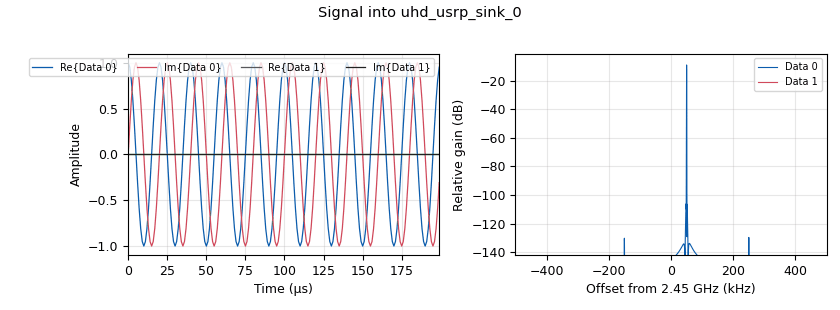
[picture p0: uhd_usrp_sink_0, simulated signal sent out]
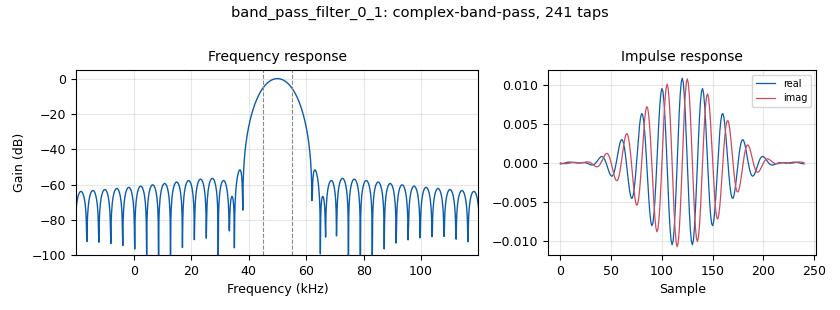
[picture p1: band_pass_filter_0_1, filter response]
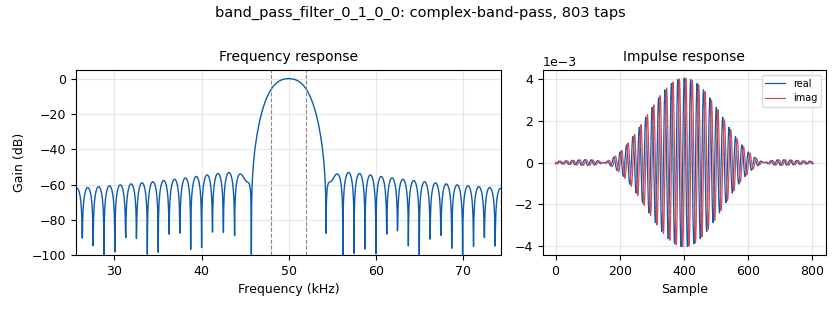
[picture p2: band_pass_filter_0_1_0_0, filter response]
options:
  parameters:
    generate_options: qt_gui
    id: run_save_phase_mag_corr_coeff_vals_2_45GHz_MAV_and_filter_eval
    output_language: python
    title: Save phase and magnitude correcting coefficents 2.45GHz MAV and filter eval
  states: {}

blocks:
- name: center_frequency
  id: variable
  parameters:
    value: '2.45e+9'
  states: {}
- name: chan_bandwidth
  id: variable
  parameters:
    value: '500000'
  states: {}
- name: rx_gain
  id: variable
  parameters:
    value: '60'
  states: {}
- name: samp_rate
  id: variable
  parameters:
    value: '1000000'
  states: {}
- name: tx_gain
  id: variable
  parameters:
    value: '30'
  states: {}
- name: analog_sig_source_x_0
  id: analog_sig_source_x
  parameters:
    amp: '1'
    freq: 50e3
    offset: '0'
    phase: '0'
    samp_rate: samp_rate
    type: complex
    waveform: analog.GR_COS_WAVE
  states: {}
- name: aoa_calc_phase_diff_0
  id: aoa_calc_phase_diff
  parameters:
    node_idx: '1'
    norm_spacing: '0.5'
  states: {}
- name: aoa_calc_phase_diff_0_0
  id: aoa_calc_phase_diff
  parameters:
    node_idx: '1'
    norm_spacing: '0.5'
  states: {}
- name: aoa_calc_phase_diff_0_0_0
  id: aoa_calc_phase_diff
  parameters:
    node_idx: '1'
    norm_spacing: '0.5'
  states: {}
- name: aoa_precise_moving_average_0
  id: aoa_precise_moving_average
  parameters:
    length: int(1e3)
    max_iter: int(1e3)
  states: {}
- name: aoa_precise_moving_average_0_0
  id: aoa_precise_moving_average
  parameters:
    length: int(1e7)
    max_iter: int(1e7)
  states: {}
- name: aoa_precise_moving_average_0_0_0
  id: aoa_precise_moving_average
  parameters:
    length: int(1e6)
    max_iter: int(1e6)
  states: {}
- name: aoa_precise_moving_average_0_0_0_0
  id: aoa_precise_moving_average
  parameters:
    length: int(1e4)
    max_iter: int(1e4)
  states: {}
- name: aoa_precise_moving_average_0_0_0_0_0
  id: aoa_precise_moving_average
  parameters:
    length: int(1e5)
    max_iter: int(1e5)
  states: {}
- name: aoa_precise_moving_average_0_0_0_0_0_0
  id: aoa_precise_moving_average
  parameters:
    length: int(1e5)
    max_iter: int(1e5)
  states: {}
- name: aoa_precise_moving_average_0_0_0_0_0_0_0
  id: aoa_precise_moving_average
  parameters:
    length: int(1e5)
    max_iter: int(1e5)
  states: {}
- name: aoa_precise_moving_average_0_0_0_0_0_0_0_0
  id: aoa_precise_moving_average
  parameters:
    length: int(1e5)
    max_iter: int(1e5)
  states: {}
- name: aoa_precise_moving_average_0_0_0_0_0_0_0_0_0
  id: aoa_precise_moving_average
  parameters:
    length: int(1e5)
    max_iter: int(1e5)
  states: {}
- name: aoa_precise_moving_average_0_0_0_0_0_0_0_1
  id: aoa_precise_moving_average
  parameters:
    length: int(1e5)
    max_iter: int(1e5)
  states: {}
- name: aoa_precise_moving_average_0_0_0_0_1
  id: aoa_precise_moving_average
  parameters:
    length: int(1e4)
    max_iter: int(1e4)
  states: {}
- name: aoa_precise_moving_average_0_0_0_0_1_0
  id: aoa_precise_moving_average
  parameters:
    length: int(1e4)
    max_iter: int(1e4)
  states: {}
- name: aoa_precise_moving_average_0_0_0_0_1_0_0
  id: aoa_precise_moving_average
  parameters:
    length: int(1e4)
    max_iter: int(1e4)
  states: {}
- name: aoa_precise_moving_average_0_0_0_0_1_0_0_0
  id: aoa_precise_moving_average
  parameters:
    length: int(1e4)
    max_iter: int(1e4)
  states: {}
- name: aoa_precise_moving_average_0_0_0_0_1_0_1
  id: aoa_precise_moving_average
  parameters:
    length: int(1e4)
    max_iter: int(1e4)
  states: {}
- name: aoa_precise_moving_average_0_0_0_1
  id: aoa_precise_moving_average
  parameters:
    length: int(1e6)
    max_iter: int(1e6)
  states: {}
- name: aoa_precise_moving_average_0_0_0_1_0
  id: aoa_precise_moving_average
  parameters:
    length: int(1e6)
    max_iter: int(1e6)
  states: {}
- name: aoa_precise_moving_average_0_0_0_1_0_0
  id: aoa_precise_moving_average
  parameters:
    length: int(1e6)
    max_iter: int(1e6)
  states: {}
- name: aoa_precise_moving_average_0_0_0_1_0_0_0
  id: aoa_precise_moving_average
  parameters:
    length: int(1e6)
    max_iter: int(1e6)
  states: {}
- name: aoa_precise_moving_average_0_0_0_1_0_1
  id: aoa_precise_moving_average
  parameters:
    length: int(1e6)
    max_iter: int(1e6)
  states: {}
- name: aoa_precise_moving_average_0_0_1
  id: aoa_precise_moving_average
  parameters:
    length: int(1e7)
    max_iter: int(1e7)
  states: {}
- name: aoa_precise_moving_average_0_0_1_0
  id: aoa_precise_moving_average
  parameters:
    length: int(1e7)
    max_iter: int(1e7)
  states: {}
- name: aoa_precise_moving_average_0_0_1_0_0
  id: aoa_precise_moving_average
  parameters:
    length: int(1e7)
    max_iter: int(1e7)
  states: {}
- name: aoa_precise_moving_average_0_0_1_0_0_0
  id: aoa_precise_moving_average
  parameters:
    length: int(1e7)
    max_iter: int(1e7)
  states: {}
- name: aoa_precise_moving_average_0_0_1_0_1
  id: aoa_precise_moving_average
  parameters:
    length: int(1e7)
    max_iter: int(1e7)
  states: {}
- name: aoa_precise_moving_average_0_1
  id: aoa_precise_moving_average
  parameters:
    length: int(1e3)
    max_iter: int(1e3)
  states: {}
- name: aoa_precise_moving_average_0_1_0
  id: aoa_precise_moving_average
  parameters:
    length: int(1e3)
    max_iter: int(1e3)
  states: {}
- name: aoa_precise_moving_average_0_1_0_0
  id: aoa_precise_moving_average
  parameters:
    length: int(1e3)
    max_iter: int(1e3)
  states: {}
- name: aoa_precise_moving_average_0_1_0_0_0
  id: aoa_precise_moving_average
  parameters:
    length: int(1e3)
    max_iter: int(1e3)
  states: {}
- name: aoa_precise_moving_average_0_1_0_1
  id: aoa_precise_moving_average
  parameters:
    length: int(1e3)
    max_iter: int(1e3)
  states: {}
- name: band_pass_filter_0_1
  id: band_pass_filter
  parameters:
    decim: '1'
    gain: '1'
    high_cutoff_freq: 55e3
    low_cutoff_freq: 45e3
    samp_rate: samp_rate
    type: fir_filter_ccc
    width: 10e3
    win: firdes.WIN_HAMMING
  states: {}
- name: band_pass_filter_0_1_0
  id: band_pass_filter
  parameters:
    decim: '1'
    gain: '1'
    high_cutoff_freq: 55e3
    low_cutoff_freq: 45e3
    samp_rate: samp_rate
    type: fir_filter_ccc
    width: 10e3
    win: firdes.WIN_HAMMING
  states: {}
- name: band_pass_filter_0_1_0_0
  id: band_pass_filter
  parameters:
    decim: '1'
    gain: '1'
    high_cutoff_freq: 52e3
    low_cutoff_freq: 48e3
    samp_rate: samp_rate
    type: fir_filter_ccc
    width: 3e3
    win: firdes.WIN_HAMMING
  states: {}
- name: band_pass_filter_0_1_1
  id: band_pass_filter
  parameters:
    decim: '1'
    gain: '1'
    high_cutoff_freq: 52e3
    low_cutoff_freq: 48e3
    samp_rate: samp_rate
    type: fir_filter_ccc
    width: 3e3
    win: firdes.WIN_HAMMING
  states: {}
- name: blocks_complex_to_mag_0
  id: blocks_complex_to_mag
  parameters: {}
  states: {}
- name: blocks_complex_to_mag_0_0
  id: blocks_complex_to_mag
  parameters: {}
  states: {}
- name: blocks_complex_to_mag_0_0_0
  id: blocks_complex_to_mag
  parameters: {}
  states: {}
- name: blocks_complex_to_mag_0_0_0_0
  id: blocks_complex_to_mag
  parameters: {}
  states: {}
- name: blocks_complex_to_mag_0_1
  id: blocks_complex_to_mag
  parameters: {}
  states: {}
- name: blocks_complex_to_mag_0_1_0
  id: blocks_complex_to_mag
  parameters: {}
  states: {}
- name: blocks_divide_xx_0
  id: blocks_divide_xx
  parameters:
    type: float
  states: {}
- name: blocks_divide_xx_0_0
  id: blocks_divide_xx
  parameters:
    type: float
  states: {}
- name: blocks_divide_xx_0_0_0
  id: blocks_divide_xx
  parameters:
    type: float
  states: {}
- name: blocks_file_sink_0
  id: blocks_file_sink
  parameters:
    file: /home/marcin/Desktop/phase_shift_coeff_mav_100k_nofilter_log.bin
    type: float
  states: {}
- name: blocks_file_sink_0_2
  id: blocks_file_sink
  parameters:
    file: /home/marcin/Desktop/phase_shift_coeff_mav_1M_nofilter_log.bin
    type: float
  states: {}
- name: blocks_file_sink_0_2_0
  id: blocks_file_sink
  parameters:
    file: /home/marcin/Desktop/mag_corr_coeff_mav_1M_nofilter_log.bin
    type: float
  states: {}
- name: blocks_file_sink_0_2_0_0
  id: blocks_file_sink
  parameters:
    file: /home/marcin/Desktop/phase_shift_coeff_mav_1M_filter_log.bin
    type: float
  states: {}
- name: blocks_file_sink_0_2_0_0_0
  id: blocks_file_sink
  parameters:
    file: /home/marcin/Desktop/mag_corr_coeff_mav_1M_filter_log.bin
    type: float
  states: {}
- name: blocks_file_sink_0_2_0_0_0_0
  id: blocks_file_sink
  parameters:
    file: /home/marcin/Desktop/mag_corr_coeff_mav_10M_filter_log.bin
    type: float
  states: {}
- name: blocks_file_sink_0_2_0_0_0_0_0
  id: blocks_file_sink
  parameters:
    file: /home/marcin/Desktop/mag_corr_coeff_mav_10M_sel_filter_log.bin
    type: float
  states: {}
- name: blocks_file_sink_0_2_0_0_0_1
  id: blocks_file_sink
  parameters:
    file: /home/marcin/Desktop/mag_corr_coeff_mav_1M_sel_filter_log.bin
    type: float
  states: {}
- name: blocks_file_sink_0_2_0_0_1
  id: blocks_file_sink
  parameters:
    file: /home/marcin/Desktop/phase_shift_coeff_mav_10M_filter_log.bin
    type: float
  states: {}
- name: blocks_file_sink_0_2_0_0_1_0
  id: blocks_file_sink
  parameters:
    file: /home/marcin/Desktop/phase_shift_coeff_mav_10M_sel_filter_log.bin
    type: float
  states: {}
- name: blocks_file_sink_0_2_0_0_2
  id: blocks_file_sink
  parameters:
    file: /home/marcin/Desktop/phase_shift_coeff_mav_1M_sel_filter_log.bin
    type: float
  states: {}
- name: blocks_file_sink_0_2_0_1
  id: blocks_file_sink
  parameters:
    file: /home/marcin/Desktop/mag_corr_coeff_mav_10M_nofilter_log.bin
    type: float
  states: {}
- name: blocks_file_sink_0_2_1
  id: blocks_file_sink
  parameters:
    file: /home/marcin/Desktop/phase_shift_coeff_mav_10M_nofilter_log.bin
    type: float
  states: {}
- name: blocks_file_sink_0_3
  id: blocks_file_sink
  parameters:
    file: /home/marcin/Desktop/phase_shift_coeff_mav_10k_nofilter_log.bin
    type: float
  states: {}
- name: blocks_file_sink_0_3_0
  id: blocks_file_sink
  parameters:
    file: /home/marcin/Desktop/phase_shift_coeff_mav_1k_nofilter_log.bin
    type: float
  states: {}
- name: blocks_file_sink_0_3_0_0
  id: blocks_file_sink
  parameters:
    file: /home/marcin/Desktop/mag_corr_coeff_mav_1k_nofilter_log.bin
    type: float
  states: {}
- name: blocks_file_sink_0_3_0_0_0
  id: blocks_file_sink
  parameters:
    file: /home/marcin/Desktop/phase_shift_coeff_mav_1k_filter_log.bin
    type: float
  states: {}
- name: blocks_file_sink_0_3_0_0_0_0
  id: blocks_file_sink
  parameters:
    file: /home/marcin/Desktop/mag_corr_coeff_mav_1k_filter_log.bin
    type: float
  states: {}
- name: blocks_file_sink_0_3_0_0_0_0_0
  id: blocks_file_sink
  parameters:
    file: /home/marcin/Desktop/mag_corr_coeff_mav_1k_sel_filter_log.bin
    type: float
  states: {}
- name: blocks_file_sink_0_3_0_0_0_1
  id: blocks_file_sink
  parameters:
    file: /home/marcin/Desktop/phase_shift_coeff_mav_1k_sel_filter_log.bin
    type: float
  states: {}
- name: blocks_file_sink_0_3_1
  id: blocks_file_sink
  parameters:
    file: /home/marcin/Desktop/mag_corr_coeff_mav_10k_nofilter_log.bin
    type: float
  states: {}
- name: blocks_file_sink_0_3_1_0
  id: blocks_file_sink
  parameters:
    file: /home/marcin/Desktop/phase_shift_coeff_mav_10k_filter_log.bin
    type: float
  states: {}
- name: blocks_file_sink_0_3_1_0_0
  id: blocks_file_sink
  parameters:
    file: /home/marcin/Desktop/mag_corr_coeff_mav_10k_filter_log.bin
    type: float
  states: {}
- name: blocks_file_sink_0_3_1_0_0_0
  id: blocks_file_sink
  parameters:
    file: /home/marcin/Desktop/mag_corr_coeff_mav_10k_sel_filter_log.bin
    type: float
  states: {}
- name: blocks_file_sink_0_3_1_0_1
  id: blocks_file_sink
  parameters:
    file: /home/marcin/Desktop/phase_shift_coeff_mav_10k_sel_filter_log.bin
    type: float
  states: {}
- name: blocks_file_sink_0_4
  id: blocks_file_sink
  parameters:
    file: /home/marcin/Desktop/mag_corr_coeff_mav_100k_nofilter_log.bin
    type: float
  states: {}
- name: blocks_file_sink_0_4_0
  id: blocks_file_sink
  parameters:
    file: /home/marcin/Desktop/phase_shift_coeff_mav_100k_filter_log.bin
    type: float
  states: {}
- name: blocks_file_sink_0_4_0_0
  id: blocks_file_sink
  parameters:
    file: /home/marcin/Desktop/mag_corr_coeff_mav_100k_filter_log.bin
    type: float
  states: {}
- name: blocks_file_sink_0_4_0_0_0
  id: blocks_file_sink
  parameters:
    file: /home/marcin/Desktop/mag_corr_coeff_mav_100k_sel_filter_log.bin
    type: float
  states: {}
- name: blocks_file_sink_0_4_0_1
  id: blocks_file_sink
  parameters:
    file: /home/marcin/Desktop/phase_shift_coeff_mav_100k_sel_filter_log.bin
    type: float
  states: {}
- name: blocks_null_source_1
  id: blocks_null_source
  parameters:
    type: complex
  states: {}
- name: blocks_skiphead_0_0_0
  id: blocks_skiphead
  parameters:
    num_items: '1000000'
    type: complex
  states: {}
- name: blocks_skiphead_0_0_0_0
  id: blocks_skiphead
  parameters:
    num_items: '1000000'
    type: complex
  states: {}
- name: fir_filter_xxx_0
  id: fir_filter_xxx
  parameters:
    decim: '10000'
    taps: '1'
    type: fff
  states: {}
- name: fir_filter_xxx_0_2
  id: fir_filter_xxx
  parameters:
    decim: '10000'
    taps: '1'
    type: fff
  states: {}
- name: fir_filter_xxx_0_2_0
  id: fir_filter_xxx
  parameters:
    decim: '10000'
    taps: '1'
    type: fff
  states: {}
- name: fir_filter_xxx_0_2_0_0
  id: fir_filter_xxx
  parameters:
    decim: '10000'
    taps: '1'
    type: fff
  states: {}
- name: fir_filter_xxx_0_2_0_0_0
  id: fir_filter_xxx
  parameters:
    decim: '10000'
    taps: '1'
    type: fff
  states: {}
- name: fir_filter_xxx_0_2_0_0_0_0
  id: fir_filter_xxx
  parameters:
    decim: '10000'
    taps: '1'
    type: fff
  states: {}
- name: fir_filter_xxx_0_2_0_0_0_0_0
  id: fir_filter_xxx
  parameters:
    decim: '10000'
    taps: '1'
    type: fff
  states: {}
- name: fir_filter_xxx_0_2_0_0_0_1
  id: fir_filter_xxx
  parameters:
    decim: '10000'
    taps: '1'
    type: fff
  states: {}
- name: fir_filter_xxx_0_2_0_0_1
  id: fir_filter_xxx
  parameters:
    decim: '10000'
    taps: '1'
    type: fff
  states: {}
- name: fir_filter_xxx_0_2_0_0_1_0
  id: fir_filter_xxx
  parameters:
    decim: '10000'
    taps: '1'
    type: fff
  states: {}
- name: fir_filter_xxx_0_2_0_0_2
  id: fir_filter_xxx
  parameters:
    decim: '10000'
    taps: '1'
    type: fff
  states: {}
- name: fir_filter_xxx_0_2_0_1
  id: fir_filter_xxx
  parameters:
    decim: '10000'
    taps: '1'
    type: fff
  states: {}
- name: fir_filter_xxx_0_2_1
  id: fir_filter_xxx
  parameters:
    decim: '10000'
    taps: '1'
    type: fff
  states: {}
- name: fir_filter_xxx_0_3
  id: fir_filter_xxx
  parameters:
    decim: '10000'
    taps: '1'
    type: fff
  states: {}
- name: fir_filter_xxx_0_3_0
  id: fir_filter_xxx
  parameters:
    decim: '10000'
    taps: '1'
    type: fff
  states: {}
- name: fir_filter_xxx_0_3_0_0
  id: fir_filter_xxx
  parameters:
    decim: '10000'
    taps: '1'
    type: fff
  states: {}
- name: fir_filter_xxx_0_3_0_0_0
  id: fir_filter_xxx
  parameters:
    decim: '10000'
    taps: '1'
    type: fff
  states: {}
- name: fir_filter_xxx_0_3_0_0_0_0
  id: fir_filter_xxx
  parameters:
    decim: '10000'
    taps: '1'
    type: fff
  states: {}
- name: fir_filter_xxx_0_3_0_0_0_0_0
  id: fir_filter_xxx
  parameters:
    decim: '10000'
    taps: '1'
    type: fff
  states: {}
- name: fir_filter_xxx_0_3_0_0_0_1
  id: fir_filter_xxx
  parameters:
    decim: '10000'
    taps: '1'
    type: fff
  states: {}
- name: fir_filter_xxx_0_3_1
  id: fir_filter_xxx
  parameters:
    decim: '10000'
    taps: '1'
    type: fff
  states: {}
- name: fir_filter_xxx_0_3_1_0
  id: fir_filter_xxx
  parameters:
    decim: '10000'
    taps: '1'
    type: fff
  states: {}
- name: fir_filter_xxx_0_3_1_0_0
  id: fir_filter_xxx
  parameters:
    decim: '10000'
    taps: '1'
    type: fff
  states: {}
- name: fir_filter_xxx_0_3_1_0_0_0
  id: fir_filter_xxx
  parameters:
    decim: '10000'
    taps: '1'
    type: fff
  states: {}
- name: fir_filter_xxx_0_3_1_0_1
  id: fir_filter_xxx
  parameters:
    decim: '10000'
    taps: '1'
    type: fff
  states: {}
- name: fir_filter_xxx_0_4
  id: fir_filter_xxx
  parameters:
    decim: '10000'
    taps: '1'
    type: fff
  states: {}
- name: fir_filter_xxx_0_4_0
  id: fir_filter_xxx
  parameters:
    decim: '10000'
    taps: '1'
    type: fff
  states: {}
- name: fir_filter_xxx_0_4_0_0
  id: fir_filter_xxx
  parameters:
    decim: '10000'
    taps: '1'
    type: fff
  states: {}
- name: fir_filter_xxx_0_4_0_0_0
  id: fir_filter_xxx
  parameters:
    decim: '10000'
    taps: '1'
    type: fff
  states: {}
- name: fir_filter_xxx_0_4_0_1
  id: fir_filter_xxx
  parameters:
    decim: '10000'
    taps: '1'
    type: fff
  states: {}
- name: uhd_usrp_sink_0
  id: uhd_usrp_sink
  parameters:
    ant0: TX/RX
    ant1: TX/RX
    bw0: chan_bandwidth
    bw1: chan_bandwidth
    center_freq0: center_frequency
    center_freq1: center_frequency
    dev_args: '""'
    gain0: tx_gain
    gain1: tx_gain
    len_tag_name: ''
    nchan: '2'
    norm_gain0: 'False'
    norm_gain1: 'False'
    samp_rate: samp_rate
    sync: sync
    type: fc32
  states: {}
- name: uhd_usrp_source_0_0
  id: uhd_usrp_source
  parameters:
    ant0: RX2
    ant1: RX2
    bw0: samp_rate
    bw1: samp_rate
    center_freq0: center_frequency
    center_freq1: center_frequency
    clock_source0: internal
    dc_offs_enb0: 'True'
    dc_offs_enb1: 'True'
    dev_args: '""'
    gain0: rx_gain
    gain1: rx_gain
    iq_imbal_enb0: 'True'
    iq_imbal_enb1: 'True'
    nchan: '2'
    norm_gain0: 'False'
    norm_gain1: 'False'
    samp_rate: samp_rate
    sync: pc_clock
    type: fc32
  states: {}

connections:
- [analog_sig_source_x_0, '0', uhd_usrp_sink_0, '0']
- [aoa_calc_phase_diff_0, '0', aoa_precise_moving_average_0, '0']
- [aoa_calc_phase_diff_0, '0', aoa_precise_moving_average_0_0, '0']
- [aoa_calc_phase_diff_0, '0', aoa_precise_moving_average_0_0_0, '0']
- [aoa_calc_phase_diff_0, '0', aoa_precise_moving_average_0_0_0_0, '0']
- [aoa_calc_phase_diff_0, '0', aoa_precise_moving_average_0_0_0_0_0, '0']
- [aoa_calc_phase_diff_0_0, '0', aoa_precise_moving_average_0_0_0_0_0_0_0, '0']
- [aoa_calc_phase_diff_0_0, '0', aoa_precise_moving_average_0_0_0_0_1_0, '0']
- [aoa_calc_phase_diff_0_0, '0', aoa_precise_moving_average_0_0_0_1_0, '0']
- [aoa_calc_phase_diff_0_0, '0', aoa_precise_moving_average_0_0_1_0, '0']
- [aoa_calc_phase_diff_0_0, '0', aoa_precise_moving_average_0_1_0, '0']
- [aoa_calc_phase_diff_0_0_0, '0', aoa_precise_moving_average_0_0_0_0_0_0_0_1, '0']
- [aoa_calc_phase_diff_0_0_0, '0', aoa_precise_moving_average_0_0_0_0_1_0_1, '0']
- [aoa_calc_phase_diff_0_0_0, '0', aoa_precise_moving_average_0_0_0_1_0_1, '0']
- [aoa_calc_phase_diff_0_0_0, '0', aoa_precise_moving_average_0_0_1_0_1, '0']
- [aoa_calc_phase_diff_0_0_0, '0', aoa_precise_moving_average_0_1_0_1, '0']
- [aoa_precise_moving_average_0, '0', fir_filter_xxx_0_3_0, '0']
- [aoa_precise_moving_average_0_0, '0', fir_filter_xxx_0_2_1, '0']
- [aoa_precise_moving_average_0_0_0, '0', fir_filter_xxx_0_2, '0']
- [aoa_precise_moving_average_0_0_0_0, '0', fir_filter_xxx_0_3, '0']
- [aoa_precise_moving_average_0_0_0_0_0, '0', fir_filter_xxx_0, '0']
- [aoa_precise_moving_average_0_0_0_0_0_0, '0', fir_filter_xxx_0_4, '0']
- [aoa_precise_moving_average_0_0_0_0_0_0_0, '0', fir_filter_xxx_0_4_0, '0']
- [aoa_precise_moving_average_0_0_0_0_0_0_0_0, '0', fir_filter_xxx_0_4_0_0, '0']
- [aoa_precise_moving_average_0_0_0_0_0_0_0_0_0, '0', fir_filter_xxx_0_4_0_0_0, '0']
- [aoa_precise_moving_average_0_0_0_0_0_0_0_1, '0', fir_filter_xxx_0_4_0_1, '0']
- [aoa_precise_moving_average_0_0_0_0_1, '0', fir_filter_xxx_0_3_1, '0']
- [aoa_precise_moving_average_0_0_0_0_1_0, '0', fir_filter_xxx_0_3_1_0, '0']
- [aoa_precise_moving_average_0_0_0_0_1_0_0, '0', fir_filter_xxx_0_3_1_0_0, '0']
- [aoa_precise_moving_average_0_0_0_0_1_0_0_0, '0', fir_filter_xxx_0_3_1_0_0_0, '0']
- [aoa_precise_moving_average_0_0_0_0_1_0_1, '0', fir_filter_xxx_0_3_1_0_1, '0']
- [aoa_precise_moving_average_0_0_0_1, '0', fir_filter_xxx_0_2_0, '0']
- [aoa_precise_moving_average_0_0_0_1_0, '0', fir_filter_xxx_0_2_0_0, '0']
- [aoa_precise_moving_average_0_0_0_1_0_0, '0', fir_filter_xxx_0_2_0_0_0, '0']
- [aoa_precise_moving_average_0_0_0_1_0_0_0, '0', fir_filter_xxx_0_2_0_0_0_1, '0']
- [aoa_precise_moving_average_0_0_0_1_0_1, '0', fir_filter_xxx_0_2_0_0_2, '0']
- [aoa_precise_moving_average_0_0_1, '0', fir_filter_xxx_0_2_0_1, '0']
- [aoa_precise_moving_average_0_0_1_0, '0', fir_filter_xxx_0_2_0_0_1, '0']
- [aoa_precise_moving_average_0_0_1_0_0, '0', fir_filter_xxx_0_2_0_0_0_0, '0']
- [aoa_precise_moving_average_0_0_1_0_0_0, '0', fir_filter_xxx_0_2_0_0_0_0_0, '0']
- [aoa_precise_moving_average_0_0_1_0_1, '0', fir_filter_xxx_0_2_0_0_1_0, '0']
- [aoa_precise_moving_average_0_1, '0', fir_filter_xxx_0_3_0_0, '0']
- [aoa_precise_moving_average_0_1_0, '0', fir_filter_xxx_0_3_0_0_0, '0']
- [aoa_precise_moving_average_0_1_0_0, '0', fir_filter_xxx_0_3_0_0_0_0, '0']
- [aoa_precise_moving_average_0_1_0_0_0, '0', fir_filter_xxx_0_3_0_0_0_0_0, '0']
- [aoa_precise_moving_average_0_1_0_1, '0', fir_filter_xxx_0_3_0_0_0_1, '0']
- [band_pass_filter_0_1, '0', aoa_calc_phase_diff_0_0, '0']
- [band_pass_filter_0_1, '0', blocks_complex_to_mag_0_1, '0']
- [band_pass_filter_0_1_0, '0', aoa_calc_phase_diff_0_0, '1']
- [band_pass_filter_0_1_0, '0', blocks_complex_to_mag_0_0_0, '0']
- [band_pass_filter_0_1_0_0, '0', aoa_calc_phase_diff_0_0_0, '1']
- [band_pass_filter_0_1_0_0, '0', blocks_complex_to_mag_0_0_0_0, '0']
- [band_pass_filter_0_1_1, '0', aoa_calc_phase_diff_0_0_0, '0']
- [band_pass_filter_0_1_1, '0', blocks_complex_to_mag_0_1_0, '0']
- [blocks_complex_to_mag_0, '0', blocks_divide_xx_0, '0']
- [blocks_complex_to_mag_0_0, '0', blocks_divide_xx_0, '1']
- [blocks_complex_to_mag_0_0_0, '0', blocks_divide_xx_0_0, '1']
- [blocks_complex_to_mag_0_0_0_0, '0', blocks_divide_xx_0_0_0, '1']
- [blocks_complex_to_mag_0_1, '0', blocks_divide_xx_0_0, '0']
- [blocks_complex_to_mag_0_1_0, '0', blocks_divide_xx_0_0_0, '0']
- [blocks_divide_xx_0, '0', aoa_precise_moving_average_0_0_0_0_0_0, '0']
- [blocks_divide_xx_0, '0', aoa_precise_moving_average_0_0_0_0_1, '0']
- [blocks_divide_xx_0, '0', aoa_precise_moving_average_0_0_0_1, '0']
- [blocks_divide_xx_0, '0', aoa_precise_moving_average_0_0_1, '0']
- [blocks_divide_xx_0, '0', aoa_precise_moving_average_0_1, '0']
- [blocks_divide_xx_0_0, '0', aoa_precise_moving_average_0_0_0_0_0_0_0_0, '0']
- [blocks_divide_xx_0_0, '0', aoa_precise_moving_average_0_0_0_0_1_0_0, '0']
- [blocks_divide_xx_0_0, '0', aoa_precise_moving_average_0_0_0_1_0_0, '0']
- [blocks_divide_xx_0_0, '0', aoa_precise_moving_average_0_0_1_0_0, '0']
- [blocks_divide_xx_0_0, '0', aoa_precise_moving_average_0_1_0_0, '0']
- [blocks_divide_xx_0_0_0, '0', aoa_precise_moving_average_0_0_0_0_0_0_0_0_0, '0']
- [blocks_divide_xx_0_0_0, '0', aoa_precise_moving_average_0_0_0_0_1_0_0_0, '0']
- [blocks_divide_xx_0_0_0, '0', aoa_precise_moving_average_0_0_0_1_0_0_0, '0']
- [blocks_divide_xx_0_0_0, '0', aoa_precise_moving_average_0_0_1_0_0_0, '0']
- [blocks_divide_xx_0_0_0, '0', aoa_precise_moving_average_0_1_0_0_0, '0']
- [blocks_null_source_1, '0', uhd_usrp_sink_0, '1']
- [blocks_skiphead_0_0_0, '0', aoa_calc_phase_diff_0, '0']
- [blocks_skiphead_0_0_0, '0', band_pass_filter_0_1, '0']
- [blocks_skiphead_0_0_0, '0', band_pass_filter_0_1_1, '0']
- [blocks_skiphead_0_0_0, '0', blocks_complex_to_mag_0, '0']
- [blocks_skiphead_0_0_0_0, '0', aoa_calc_phase_diff_0, '1']
- [blocks_skiphead_0_0_0_0, '0', band_pass_filter_0_1_0, '0']
- [blocks_skiphead_0_0_0_0, '0', band_pass_filter_0_1_0_0, '0']
- [blocks_skiphead_0_0_0_0, '0', blocks_complex_to_mag_0_0, '0']
- [fir_filter_xxx_0, '0', blocks_file_sink_0, '0']
- [fir_filter_xxx_0_2, '0', blocks_file_sink_0_2, '0']
- [fir_filter_xxx_0_2_0, '0', blocks_file_sink_0_2_0, '0']
- [fir_filter_xxx_0_2_0_0, '0', blocks_file_sink_0_2_0_0, '0']
- [fir_filter_xxx_0_2_0_0_0, '0', blocks_file_sink_0_2_0_0_0, '0']
- [fir_filter_xxx_0_2_0_0_0_0, '0', blocks_file_sink_0_2_0_0_0_0, '0']
- [fir_filter_xxx_0_2_0_0_0_0_0, '0', blocks_file_sink_0_2_0_0_0_0_0, '0']
- [fir_filter_xxx_0_2_0_0_0_1, '0', blocks_file_sink_0_2_0_0_0_1, '0']
- [fir_filter_xxx_0_2_0_0_1, '0', blocks_file_sink_0_2_0_0_1, '0']
- [fir_filter_xxx_0_2_0_0_1_0, '0', blocks_file_sink_0_2_0_0_1_0, '0']
- [fir_filter_xxx_0_2_0_0_2, '0', blocks_file_sink_0_2_0_0_2, '0']
- [fir_filter_xxx_0_2_0_1, '0', blocks_file_sink_0_2_0_1, '0']
- [fir_filter_xxx_0_2_1, '0', blocks_file_sink_0_2_1, '0']
- [fir_filter_xxx_0_3, '0', blocks_file_sink_0_3, '0']
- [fir_filter_xxx_0_3_0, '0', blocks_file_sink_0_3_0, '0']
- [fir_filter_xxx_0_3_0_0, '0', blocks_file_sink_0_3_0_0, '0']
- [fir_filter_xxx_0_3_0_0_0, '0', blocks_file_sink_0_3_0_0_0, '0']
- [fir_filter_xxx_0_3_0_0_0_0, '0', blocks_file_sink_0_3_0_0_0_0, '0']
- [fir_filter_xxx_0_3_0_0_0_0_0, '0', blocks_file_sink_0_3_0_0_0_0_0, '0']
- [fir_filter_xxx_0_3_0_0_0_1, '0', blocks_file_sink_0_3_0_0_0_1, '0']
- [fir_filter_xxx_0_3_1, '0', blocks_file_sink_0_3_1, '0']
- [fir_filter_xxx_0_3_1_0, '0', blocks_file_sink_0_3_1_0, '0']
- [fir_filter_xxx_0_3_1_0_0, '0', blocks_file_sink_0_3_1_0_0, '0']
- [fir_filter_xxx_0_3_1_0_0_0, '0', blocks_file_sink_0_3_1_0_0_0, '0']
- [fir_filter_xxx_0_3_1_0_1, '0', blocks_file_sink_0_3_1_0_1, '0']
- [fir_filter_xxx_0_4, '0', blocks_file_sink_0_4, '0']
- [fir_filter_xxx_0_4_0, '0', blocks_file_sink_0_4_0, '0']
- [fir_filter_xxx_0_4_0_0, '0', blocks_file_sink_0_4_0_0, '0']
- [fir_filter_xxx_0_4_0_0_0, '0', blocks_file_sink_0_4_0_0_0, '0']
- [fir_filter_xxx_0_4_0_1, '0', blocks_file_sink_0_4_0_1, '0']
- [uhd_usrp_source_0_0, '0', blocks_skiphead_0_0_0, '0']
- [uhd_usrp_source_0_0, '1', blocks_skiphead_0_0_0_0, '0']

metadata:
  file_format: 1
